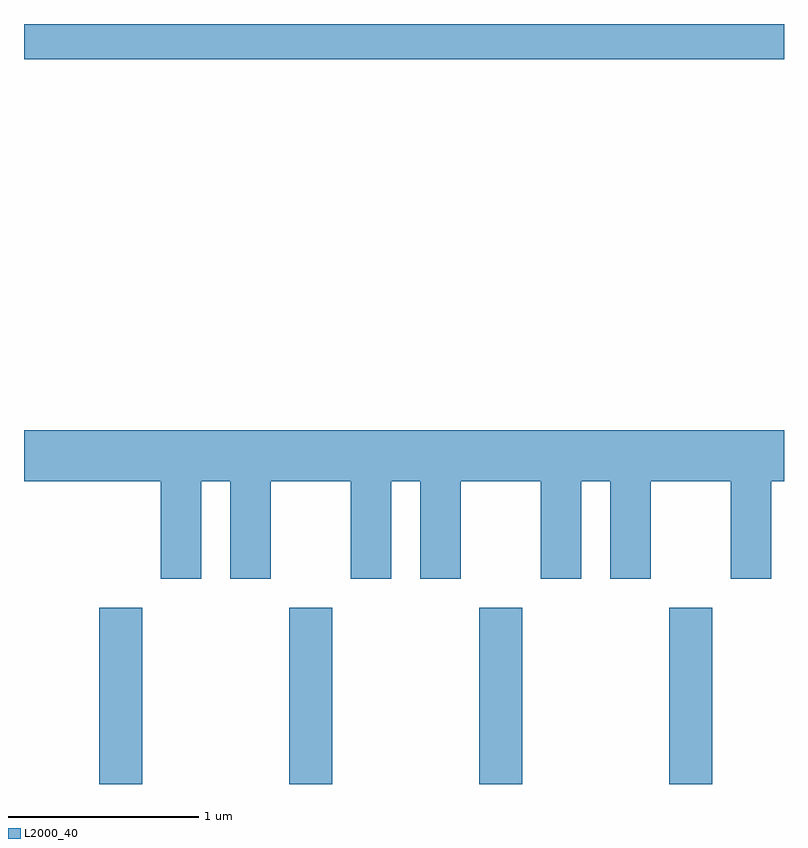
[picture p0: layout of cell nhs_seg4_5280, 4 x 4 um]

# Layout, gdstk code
import gdstk
lib = gdstk.Library(unit=1e-6, precision=1e-09)
def R(c, l, rs):  # rectangles x0, y0, x1, y1
    for r in rs: c.add(gdstk.rectangle(r[:2], r[2:], *l))
def A(c, l, x, y, w, h, nx, ny, dx, dy):  # array of equal rectangles
    R(c, l, [(x+i*dx, y+j*dy, x+i*dx+w, y+j*dy+h) for i in range(nx) for j in range(ny)])
def P(c, l, *ps):  # polygons
    for p in ps: c.add(gdstk.Polygon(p, *l))
L2000_40 = (2000, 40)

nhs_seg4_5280 = lib.new_cell('nhs_seg4_5280')
A(nhs_seg4_5280, L2000_40, 340.006, 1341.982, 0.228, 0.927, 4, 1, 1, 0)
R(nhs_seg4_5280, L2000_40, [(339.611,1345.796,343.611,1345.982)])
P(nhs_seg4_5280, L2000_40, [(340.544,1343.576),(340.696,1343.576),(340.696,1343.061),(340.909,1343.061),(340.909,1343.576),(341.331,1343.576),(341.331,1343.061),(341.544,1343.061),(341.544,1343.576),(341.696,1343.576),(341.696,1343.061),(341.909,1343.061),(341.909,1343.576),(342.331,1343.576),(342.331,1343.061),(342.544,1343.061),(342.544,1343.576),(342.696,1343.576),(342.696,1343.061),(342.909,1343.061),(342.909,1343.576),(343.331,1343.576),(343.331,1343.061),(343.544,1343.061),(343.544,1343.576),(343.611,1343.576),(343.611,1343.844),(339.611,1343.844),(339.611,1343.576),(340.331,1343.576),(340.331,1343.061),(340.544,1343.061)])

lib.write_gds('nhs_seg4_5280.gds')
